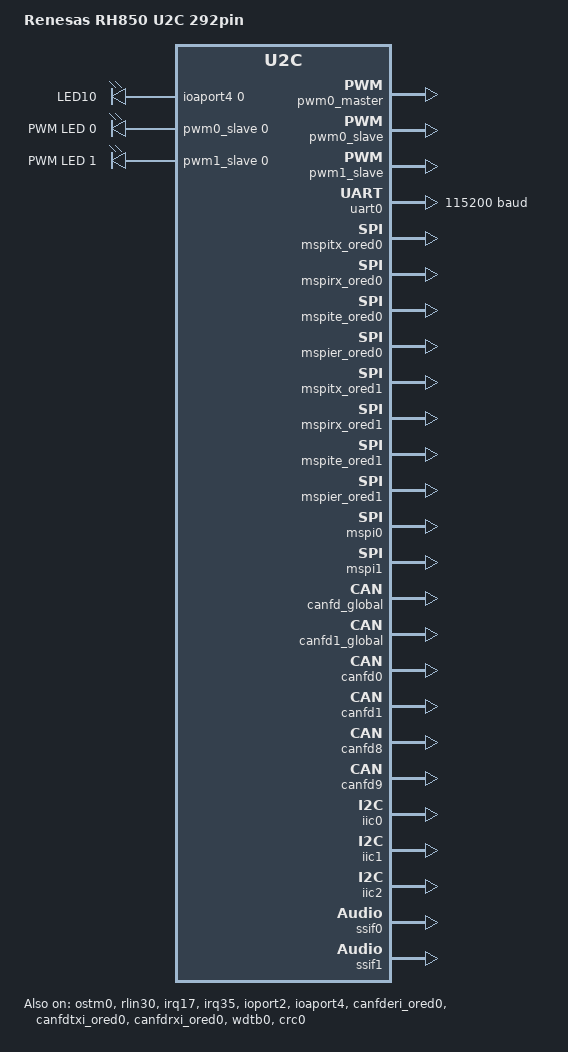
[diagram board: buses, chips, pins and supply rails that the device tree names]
/*
 * Copyright (c) 2026 Renesas Electronics Corporation
 * SPDX-License-Identifier: Apache-2.0
 */

/dts-v1/;

#include <dt-bindings/input/input-event-codes.h>
#include <rh850/renesas/rh850u2c/r7f702600afabb-c.dtsi>
#include <dt-bindings/gpio/gpio.h>
#include <dt-bindings/pwm/pwm.h>

#include "pb_rh850u2c_292pin-pinctrl.dtsi"

/ {
	model = "Renesas RH850 U2C 292pin";
	compatible = "renesas,pb-rh850u2c-292pin", "renesas,u2c";

	chosen {
		zephyr,console = &uart0;
		zephyr,shell-uart = &uart0;
		zephyr,sram = &sram0;
		zephyr,flash = &flash0;
		zephyr,system-timer = &ostm0;
		zephyr,crc = &crc0;
		zephyr,canbus = &canfd0;
	};

	aliases {
		led0 = &led10;
		watchdog0 = &wdtb0;
		pwm-led0 = &pwm_led_0;
		pwm-led1 = &pwm_led_1;
		i2s0 = &ssif0;
	};

	leds {
		compatible = "gpio-leds";

		led10: led10 {
			gpios = <&ioaport4 0 GPIO_ACTIVE_HIGH>;
			label = "LED10";
		};
	};

	pwmleds {
		compatible = "pwm-leds";

		pwm_led_0: pwm_led_0 {
			pwms = <&pwm0_slave 0 PWM_MSEC(20) PWM_POLARITY_NORMAL>;
			label = "PWM LED 0";
		};

		pwm_led_1: pwm_led_1 {
			pwms = <&pwm1_slave 0 PWM_MSEC(20) PWM_POLARITY_INVERTED>;
			label = "PWM LED 1";
		};
	};
};

&pwm0_master {
	status = "okay";
};

&pwm0_slave {
	pinctrl-0 = <&pwm0_slave_default>;
	pinctrl-names = "default";
	status = "okay";
};

&pwm1_slave {
	pinctrl-0 = <&pwm1_slave_default>;
	pinctrl-names = "default";
	status = "okay";
};

&taud3p0 {
	pinctrl-0 = <&taud3p0_default>;
	pinctrl-names = "default";
	status = "disabled";
};

&taud3p1 {
	pinctrl-0 = <&taud3p1_default>;
	pinctrl-names = "default";
	status = "disabled";
};

&ostm0 {
	status = "okay";

	timer {
		status = "okay";
	};
};

&rlin30 {
	pinctrl-0 = <&rlin30_default>;
	pinctrl-names = "default";
	status = "okay";

	uart0: uart {
		current-speed = <115200>;
		status = "okay";
	};
};

&etnf0 {
	pinctrl-0 = <&etnf0_default>;
	pinctrl-names = "default";
	local-mac-address = [74 90 50 12 34 56];
	mdio-interface = "shared";
	pma-filtered;
};

&ct25205 {
	plca-enable;
	plca-node-id = <0>;
	plca-node-count = <8>;
	plca-burst-count = <0>;
	plca-burst-timer = <128>;
	plca-to-timer = <32>;
};

&irq17 {
	trigger-type = "falling";
	pinctrl-0 = <&irq17_ioport>;
	pinctrl-names = "default";
	status = "okay";
};

&irq35 {
	trigger-type = "falling";
	pinctrl-0 = <&irq35_ioport>;
	pinctrl-names = "default";
	status = "okay";
};

&ioport2 {
	irqs = <&irq35 4>;
	status = "okay";
};

&ioaport4 {
	status = "okay";
};

&mspitx_ored0 {
	status = "okay";
};

&mspirx_ored0 {
	status = "okay";
};

&mspite_ored0 {
	status = "okay";
};

&mspier_ored0 {
	status = "okay";
};

&mspitx_ored1 {
	status = "okay";
};

&mspirx_ored1 {
	status = "okay";
};

&mspite_ored1 {
	status = "okay";
};

&mspier_ored1 {
	status = "okay";
};

&canfderi_ored0 {
	status = "okay";
};

&canfdtxi_ored0 {
	status = "okay";
};

&canfdrxi_ored0 {
	status = "okay";
};

&mspi0 {
	pinctrl-0 = <&mspi0_default>;
	pinctrl-names = "default";
	interrupts-extended = <&intc2 76 1>,
			      <&intc2 79 1>,
			      <&mspite_ored0>,
			      <&mspier_ored0>;
	interrupt-names = "txi", "rxi", "tei", "eri";
	channel = <0>;
	status = "okay";
};

&mspi1 {
	pinctrl-0 = <&mspi1_default>;
	pinctrl-names = "default";
	interrupts-extended = <&mspitx_ored1>,
			      <&mspirx_ored1>,
			      <&mspite_ored1>,
			      <&mspier_ored1>;
	interrupt-names = "txi", "rxi", "tei", "eri";
	channel = <0>;
	status = "okay";
};

&wdtb0 {
	status = "okay";
};

&crc0 {
	status = "okay";
};

&canfd_global {
	status = "okay";
};

&canfd1_global {
	status = "okay";
};

&canfd0 {
	pinctrl-0 = <&canfd0_default>;
	pinctrl-names = "default";
	status = "okay";
	rx-max-filters = <128>;
};

&canfd1 {
	pinctrl-0 = <&canfd1_default>;
	pinctrl-names = "default";
	status = "okay";
	rx-max-filters = <128>;
};

&canfd8 {
	pinctrl-0 = <&canfd8_default>;
	pinctrl-names = "default";
	status = "okay";
	rx-max-filters = <128>;
};

&canfd9 {
	pinctrl-0 = <&canfd9_default>;
	pinctrl-names = "default";
	status = "okay";
	rx-max-filters = <128>;
};

&iic0 {
	pinctrl-0 = <&iic0_default>;
	pinctrl-names = "default";
	status = "okay";
};

&iic1 {
	pinctrl-0 = <&iic1_default>;
	pinctrl-names = "default";
	status = "okay";
};

&iic2 {
	pinctrl-0 = <&iic2_default>;
	pinctrl-names = "default";
	status = "okay";
};

&ssif0 {
	pinctrl-0 = <&ssif0_default>;
	pinctrl-names = "default";
	status = "okay";
};

&ssif1 {
	pinctrl-0 = <&ssif1_default>;
	pinctrl-names = "default";
	status = "okay";
};

&etnd0_mdio {
	pinctrl-0 = <&etnd0_mdio_default>;
	pinctrl-names = "default";

	eth_phy0: ethernet-phy@1f {
		compatible = "ethernet-phy";
		reg = <0x1f>;
		reset-gpios = <&ioport21 10 GPIO_ACTIVE_LOW>;
		reset-assert-duration-us = <1000>;
		reset-deassertion-timeout-ms = <10>;
		default-speeds = "10BASE Full-Duplex", "100BASE Full-Duplex";
		status = "disabled";
	};
};

&etnd0 {
	pinctrl-0 = <&etnd0_mii_default>;
	pinctrl-names = "default";
	phy-handle = <&eth_phy0>;
	phy-connection-type = "mii";
	local-mac-address = [74 90 50 54 53 4e];
};

&sent0 {
	pinctrl-0 = <&sent0_default>;
	pinctrl-names = "default";
	status = "disabled";

	channel@0 {
		status = "disabled";
	};
};

&sent1 {
	pinctrl-0 = <&sent1_default>;
	pinctrl-names = "default";
	status = "disabled";

	channel@0 {
		status = "disabled";
	};
};
